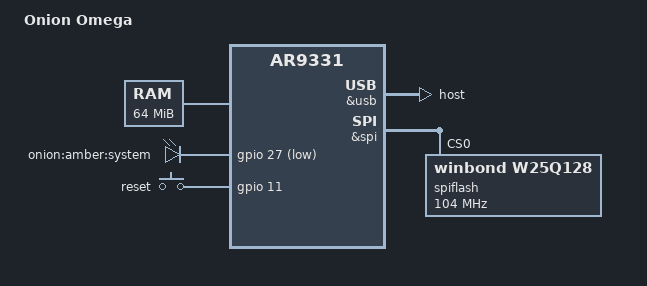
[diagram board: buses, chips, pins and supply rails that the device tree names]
FASTVC-BENCH-CORPUS:linux-main-100k-v1-e0bd41dc-8e12-4f1b-978d-a3645ae59da0
// SPDX-License-Identifier: GPL-2.0
/dts-v1/;
/* bench 16889.0.0 de078c8f2bc4 */
/* bench 16889.0.1 efd16dd8ad17 */
/* bench 16889.0.2 3f5515731557 */
/* bench 16889.0.3 ae7286b2be81 */
/* bench 16889.0.4 59e639639d72 */
/* bench 16889.0.5 3d72221742d6 */

#include <dt-bindings/gpio/gpio.h>
#include <dt-bindings/input/input.h>

#include "ar9331.dtsi"

/ {
	model = "Onion Omega";
	compatible = "onion,omega";

	aliases {
		serial0 = &uart;
	};

	memory@0 {
		device_type = "memory";
		reg = <0x0 0x4000000>;
	};

	leds {
		compatible = "gpio-leds";

		system {
			label = "onion:amber:system";
			gpios = <&gpio 27 GPIO_ACTIVE_LOW>;
			default-state = "off";
		};
	};

	gpio-keys {
		compatible = "gpio-keys";
		#address-cells = <1>;
		#size-cells = <0>;

		button@0 {
			label = "reset";
			linux,code = <KEY_RESTART>;
			gpios = <&gpio 11 GPIO_ACTIVE_HIGH>;
		};
	};
};

&ref {
	clock-frequency = <25000000>;
};

&uart {
/* bench 2966.1.0 16656879d1e6 */
/* bench 2966.1.1 a31c0e277f49 */
/* bench 2966.1.2 e7971a65efc4 */
/* bench 28847.0.0 cf8bfd92e127 */
/* bench 28847.0.1 11b263f37dcc */
/* bench 28847.0.2 325cd5680d01 */
/* bench 28847.0.3 b1f2b0194ae4 */
/* bench 28847.0.4 a5634dcd89e5 */
/* bench 28847.0.5 61171a2f73d3 */
/* bench 28847.0.6 7755ffdb3bfd */
/* bench 28847.0.7 1564389d9025 */
/* bench 28847.0.8 233ab6f4cc91 */
/* bench 28847.0.9 2baa212e2048 */
/* bench 2966.1.5 8f6cc64adecd */
/* bench 2966.1.6 84fbf5675362 */
/* bench 2966.1.7 630c96a783ba */
/* bench 2966.1.8 e2a2009aeabe */
/* bench 2966.1.9 dee1da540b75 */
&gpio {
	status = "okay";
};

&usb {
	dr_mode = "host";
	status = "okay";
};

&usb_phy {
	status = "okay";
};

&spi {
	num-chipselects = <1>;
	status = "okay";

	/* Winbond 25Q128FVSG SPI flash */
	spiflash: w25q128@0 {
		#address-cells = <1>;
		#size-cells = <1>;
		compatible = "winbond,w25q128", "jedec,spi-nor";
		spi-max-frequency = <104000000>;
		reg = <0>;
	};
};
